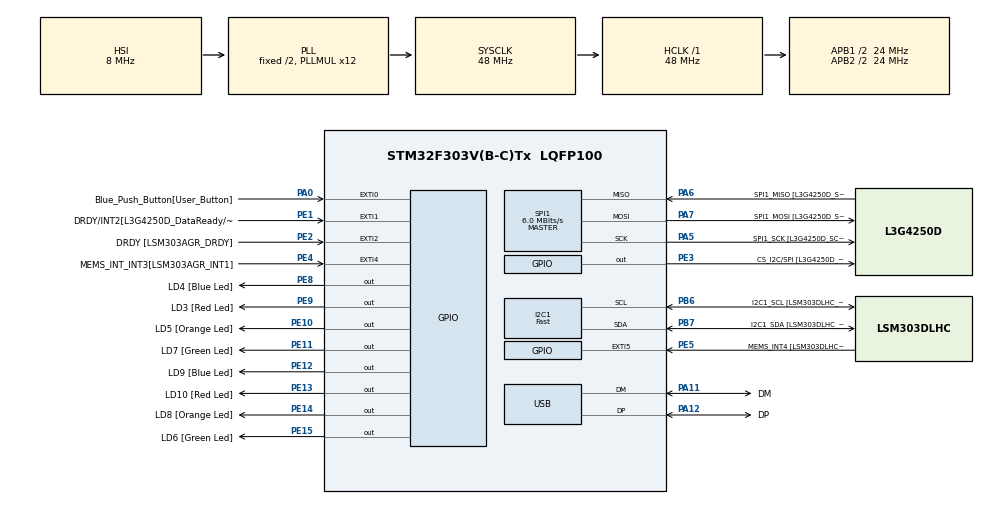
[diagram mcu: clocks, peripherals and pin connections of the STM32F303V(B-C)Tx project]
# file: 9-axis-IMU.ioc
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Dma.I2C1_RX.2.Direction=DMA_PERIPH_TO_MEMORY
Dma.I2C1_RX.2.Instance=DMA1_Channel7
Dma.I2C1_RX.2.MemDataAlignment=DMA_MDATAALIGN_BYTE
Dma.I2C1_RX.2.MemInc=DMA_MINC_ENABLE
Dma.I2C1_RX.2.Mode=DMA_NORMAL
Dma.I2C1_RX.2.PeriphDataAlignment=DMA_PDATAALIGN_BYTE
Dma.I2C1_RX.2.PeriphInc=DMA_PINC_DISABLE
Dma.I2C1_RX.2.Priority=DMA_PRIORITY_HIGH
Dma.I2C1_TX.3.Direction=DMA_MEMORY_TO_PERIPH
Dma.I2C1_TX.3.Instance=DMA1_Channel6
Dma.I2C1_TX.3.MemDataAlignment=DMA_MDATAALIGN_BYTE
Dma.I2C1_TX.3.MemInc=DMA_MINC_ENABLE
Dma.I2C1_TX.3.Mode=DMA_NORMAL
Dma.I2C1_TX.3.PeriphDataAlignment=DMA_PDATAALIGN_BYTE
Dma.I2C1_TX.3.PeriphInc=DMA_PINC_DISABLE
Dma.I2C1_TX.3.Priority=DMA_PRIORITY_HIGH
Dma.Request0=SPI1_RX
Dma.Request1=SPI1_TX
Dma.Request2=I2C1_RX
Dma.Request3=I2C1_TX
Dma.SPI1_RX.0.Direction=DMA_PERIPH_TO_MEMORY
Dma.SPI1_RX.0.Instance=DMA1_Channel2
Dma.SPI1_RX.0.MemDataAlignment=DMA_MDATAALIGN_BYTE
Dma.SPI1_RX.0.MemInc=DMA_MINC_ENABLE
Dma.SPI1_RX.0.Mode=DMA_NORMAL
Dma.SPI1_RX.0.PeriphDataAlignment=DMA_PDATAALIGN_BYTE
Dma.SPI1_RX.0.PeriphInc=DMA_PINC_DISABLE
Dma.SPI1_RX.0.Priority=DMA_PRIORITY_HIGH
Dma.SPI1_TX.1.Direction=DMA_MEMORY_TO_PERIPH
Dma.SPI1_TX.1.Instance=DMA1_Channel3
Dma.SPI1_TX.1.MemDataAlignment=DMA_MDATAALIGN_BYTE
Dma.SPI1_TX.1.MemInc=DMA_MINC_ENABLE
Dma.SPI1_TX.1.Mode=DMA_NORMAL
Dma.SPI1_TX.1.PeriphDataAlignment=DMA_PDATAALIGN_BYTE
Dma.SPI1_TX.1.PeriphInc=DMA_PINC_DISABLE
Dma.SPI1_TX.1.Priority=DMA_PRIORITY_HIGH
I2C1.DualAddressMode=I2C_DUALADDRESS_DISABLE
I2C1.GeneralCallMode=I2C_GENERALCALL_DISABLE
I2C1.I2C_Speed_Mode=I2C_Fast
I2C1.Timing=0x0000020B
Mcu.Family=STM32F3
Mcu.Name=STM32F303V(B-C)Tx
Mcu.Package=LQFP100
NVIC.DMA1_Channel2_IRQn=true\:0\:1\:false\:false\:true\:false\:true\:true
NVIC.DMA1_Channel3_IRQn=true\:0\:1\:false\:false\:true\:false\:true\:true
NVIC.DMA1_Channel6_IRQn=true\:0\:1\:false\:false\:true\:false\:true\:true
NVIC.DMA1_Channel7_IRQn=true\:0\:1\:false\:false\:true\:false\:true\:true
NVIC.EXTI0_IRQn=true\:0\:0\:false\:false\:true\:true\:true\:true
NVIC.EXTI1_IRQn=true\:0\:0\:false\:false\:true\:true\:true\:true
NVIC.EXTI2_TSC_IRQn=true\:0\:0\:false\:false\:true\:true\:true\:true
NVIC.EXTI4_IRQn=true\:0\:0\:true\:false\:true\:true\:true\:true
NVIC.I2C1_ER_IRQn=true\:0\:0\:false\:false\:true\:true\:true\:true
NVIC.I2C1_EV_IRQn=true\:0\:0\:false\:false\:true\:true\:true\:true
NVIC.PriorityGroup=NVIC_PRIORITYGROUP_0
NVIC.TIM1_TRG_COM_TIM17_IRQn=true\:0\:0\:false\:false\:true\:true\:true\:true
NVIC.USB_LP_IRQn=true\:0\:0\:false\:false\:true\:true\:true\:true
PA0.GPIO_Label=Blue_Push_Button[User_Button]
PA0.Signal=GPXTI0
PA11.GPIO_Label=DM
PA11.Mode=Device
PA11.Signal=USB_DM
PA12.GPIO_Label=DP
PA12.Mode=Device
PA12.Signal=USB_DP
PA13.GPIO_Label=SWDIO
PA13.Signal=SYS_JTMS-SWDIO
PA14.GPIO_Label=SWCLK
PA14.Signal=SYS_JTCK-SWCLK
PA5.GPIO_Label=SPI1_SCK [L3G4250D_SCL/SPC]
PA5.GPIO_Mode=GPIO_MODE_AF_PP
PA5.GPIO_PuPd=GPIO_PULLUP
PA5.GPIO_Speed=GPIO_SPEED_FREQ_LOW
PA5.Mode=Full_Duplex_Master
PA5.Signal=SPI1_SCK
PA6.GPIO_Label=SPI1_MISO [L3G4250D_SA0/SDO]
PA6.GPIO_Mode=GPIO_MODE_AF_PP
PA6.GPIO_PuPd=GPIO_PULLUP
PA6.GPIO_Speed=GPIO_SPEED_FREQ_LOW
PA6.Mode=Full_Duplex_Master
PA6.Signal=SPI1_MISO
PA7.GPIO_Label=SPI1_MOSI [L3G4250D_SDA/SDI/SDO]
PA7.GPIO_Mode=GPIO_MODE_AF_PP
PA7.GPIO_PuPd=GPIO_PULLUP
PA7.GPIO_Speed=GPIO_SPEED_FREQ_LOW
PA7.Mode=Full_Duplex_Master
PA7.Signal=SPI1_MOSI
PB3.GPIO_Label=SWO
PB3.Signal=SYS_JTDO-TRACESWO
PB6.GPIO_FM6=__NULL
PB6.GPIO_Label=I2C1_SCL [LSM303DLHC_SCL]
PB6.GPIO_Mode=GPIO_MODE_AF_OD
PB6.GPIO_Pu=GPIO_PULLUP
PB6.GPIO_PuPd=GPIO_NOPULL
PB6.GPIO_Speed=GPIO_SPEED_FREQ_LOW
PB6.Mode=I2C
PB6.Signal=I2C1_SCL
PB7.GPIO_FM7=__NULL
PB7.GPIO_Label=I2C1_SDA [LSM303DLHC_SDA]
PB7.GPIO_Mode=GPIO_MODE_AF_OD
PB7.GPIO_Pu=GPIO_PULLUP
PB7.GPIO_PuPd=GPIO_NOPULL
PB7.GPIO_Speed=GPIO_SPEED_FREQ_LOW
PB7.Mode=I2C
PB7.Signal=I2C1_SDA
PC14-OSC32_IN.GPIO_Label=OSC32_IN
PC14-OSC32_IN.Signal=RCC_OSC32_IN
PC15-OSC32_OUT.GPIO_Label=OSC32_OUT
PC15-OSC32_OUT.Signal=RCC_OSC32_OUT
PE1.GPIO_Label=DRDY/INT2[L3G4250D_DataReady/FIFOInterrupt]
PE1.Signal=GPXTI1
PE10.GPIO_Label=LD5 [Orange Led]
PE10.GPIO_ModeDefaultOutputPP=GPIO_MODE_OUTPUT_PP
PE10.GPIO_PuPd=GPIO_NOPULL
PE10.GPIO_Speed=GPIO_SPEED_FREQ_LOW
PE10.Signal=GPIO_Output
PE11.GPIO_Label=LD7 [Green Led]
PE11.GPIO_ModeDefaultOutputPP=GPIO_MODE_OUTPUT_PP
PE11.GPIO_PuPd=GPIO_NOPULL
PE11.GPIO_Speed=GPIO_SPEED_FREQ_LOW
PE11.Signal=GPIO_Output
PE12.GPIO_Label=LD9 [Blue Led]
PE12.GPIO_ModeDefaultOutputPP=GPIO_MODE_OUTPUT_PP
PE12.GPIO_PuPd=GPIO_NOPULL
PE12.GPIO_Speed=GPIO_SPEED_FREQ_LOW
PE12.Signal=GPIO_Output
PE13.GPIO_Label=LD10 [Red Led]
PE13.GPIO_ModeDefaultOutputPP=GPIO_MODE_OUTPUT_PP
PE13.GPIO_PuPd=GPIO_NOPULL
PE13.GPIO_Speed=GPIO_SPEED_FREQ_LOW
PE13.Signal=GPIO_Output
PE14.GPIO_Label=LD8 [Orange Led]
PE14.GPIO_ModeDefaultOutputPP=GPIO_MODE_OUTPUT_PP
PE14.GPIO_PuPd=GPIO_NOPULL
PE14.GPIO_Speed=GPIO_SPEED_FREQ_LOW
PE14.Signal=GPIO_Output
PE15.GPIO_Label=LD6 [Green Led]
PE15.GPIO_ModeDefaultOutputPP=GPIO_MODE_OUTPUT_PP
PE15.GPIO_PuPd=GPIO_NOPULL
PE15.GPIO_Speed=GPIO_SPEED_FREQ_LOW
PE15.Signal=GPIO_Output
PE2.GPIO_Label=DRDY [LSM303AGR_DRDY]
PE2.GPIO_ModeDefaultEXTI=GPIO_MODE_IT_RISING
PE2.GPIO_PuPd=GPIO_NOPULL
PE2.Signal=GPXTI2
PE3.GPIO_Label=CS_I2C/SPI [L3G4250D_CS_I2C/SPI]
PE3.GPIO_ModeDefaultOutputPP=GPIO_MODE_OUTPUT_PP
PE3.GPIO_PuPd=GPIO_NOPULL
PE3.GPIO_Speed=GPIO_SPEED_FREQ_LOW
PE3.PinState=GPIO_PIN_SET
PE3.Signal=GPIO_Output
PE4.GPIO_Label=MEMS_INT_INT3[LSM303AGR_INT1]
PE4.GPIO_PuPd=GPIO_PULLUP
PE4.Signal=GPXTI4
PE5.GPIO_Label=MEMS_INT4 [LSM303DLHC_INT2]
PE5.GPIO_ModeDefaultEXTI=GPIO_MODE_EVT_RISING
PE5.GPIO_PuPd=GPIO_NOPULL
PE5.Signal=GPXTI5
PE8.GPIO_Label=LD4 [Blue Led]
PE8.GPIO_ModeDefaultOutputPP=GPIO_MODE_OUTPUT_PP
PE8.GPIO_PuPd=GPIO_NOPULL
PE8.GPIO_Speed=GPIO_SPEED_FREQ_LOW
PE8.Signal=GPIO_Output
PE9.GPIO_Label=LD3 [Red Led]
PE9.GPIO_ModeDefaultOutputPP=GPIO_MODE_OUTPUT_PP
PE9.GPIO_PuPd=GPIO_NOPULL
PE9.GPIO_Speed=GPIO_SPEED_FREQ_LOW
PE9.Signal=GPIO_Output
PF0-OSC_IN.GPIO_Label=OSC_IN
PF0-OSC_IN.Signal=RCC_OSC_IN
PF1-OSC_OUT.GPIO_Label=OSC_OUT
PF1-OSC_OUT.Signal=RCC_OSC_OUT
ProjectManager.HeapSize=0x200
ProjectManager.StackSize=0x400
ProjectManager.TargetToolchain=STM32CubeIDE
RCC.AHBFreq_Value=48000000
RCC.APB1CLKDivider=RCC_HCLK_DIV2
RCC.APB1Freq_Value=24000000
RCC.APB1TimFreq_Value=48000000
RCC.APB2CLKDivider=RCC_HCLK_DIV2
RCC.APB2Freq_Value=24000000
RCC.APB2TimFreq_Value=48000000
RCC.CortexFreq_Value=48000000
RCC.HCLKFreq_Value=48000000
RCC.HSE_VALUE=8000000
RCC.HSI_VALUE=8000000
RCC.LSE_VALUE=32768
RCC.PLLMUL=RCC_PLL_MUL12
RCC.PLLSource=RCC_PLLSOURCE_HSI
RCC.PLLSourceVirtualString=RCC_PLLSOURCE_HSI
RCC.RCC_MCOSource=RCC_MCO1SOURCE_HSI
RCC.RCC_PLLsource_Clock_Source_FROM_HSE=RCC_HSE_PREDIV_DIV2
RCC.SYSCLKFreq_VALUE=48000000
RCC.SYSCLKSourceVirtual=RCC_SYSCLKSOURCE_PLLCLK
RCC.USBFreq_Value=48000000
SPI1.BaudRatePrescaler=SPI_BAUDRATEPRESCALER_4
SPI1.CLKPhase=SPI_PHASE_2EDGE
SPI1.CLKPolarity=SPI_POLARITY_HIGH
SPI1.CalculateBaudRate=6.0 MBits/s
SPI1.DataSize=SPI_DATASIZE_8BIT
SPI1.Direction=SPI_DIRECTION_2LINES
SPI1.FirstBit=SPI_FIRSTBIT_MSB
SPI1.Mode=SPI_MODE_MASTER
SPI1.VirtualType=VM_MASTER
TIM17.Period=50-1
TIM17.Prescaler=48000-1
USB_DEVICE.CLASS_NAME_FS=CDC
USB_DEVICE.USBD_SELF_POWERED=0
USB_DEVICE.VirtualMode=Cdc
USB_DEVICE.VirtualModeFS=Cdc_FS
VP_TIM17_VS_ClockSourceINT.Mode=Enable_Timer
VP_USB_DEVICE_VS_USB_DEVICE_CDC_FS.Mode=CDC_FS
board=STM32F3DISCOVERY

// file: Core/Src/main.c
/* USER CODE BEGIN Header */
/**
  ******************************************************************************
  * @file           : main.c
  * @brief          : Main program body
  ******************************************************************************
  * @attention
  *
  * Copyright (c) 2022 STMicroelectronics.
  * All rights reserved.
  *
  * This software is licensed under terms that can be found in the LICENSE file
  * in the root directory of this software component.
  * If no LICENSE file comes with this software, it is provided AS-IS.
  *
  ******************************************************************************
  */
/* USER CODE END Header */
#include "main.h"
#include "usb_device.h"

/* USER CODE BEGIN Includes */
#include "usbd_cdc_if.h"

/* USER CODE END Includes */

I2C_HandleTypeDef hi2c1;
DMA_HandleTypeDef hdma_i2c1_rx;
DMA_HandleTypeDef hdma_i2c1_tx;

SPI_HandleTypeDef hspi1;
DMA_HandleTypeDef hdma_spi1_rx;
DMA_HandleTypeDef hdma_spi1_tx;

TIM_HandleTypeDef htim17;

/* USER CODE BEGIN PV */
i3g4250d hgyro1;
lsm303agr heCompass;
imu himu;
int outputMode = 3;
/* USER CODE END PV */

void SystemClock_Config(void);
static void MX_GPIO_Init(void);
static void MX_DMA_Init(void);
static void MX_TIM17_Init(void);
static void MX_SPI1_Init(void);
static void MX_I2C1_Init(void);

/* USER CODE BEGIN 0 */
//external interrupts
void HAL_GPIO_EXTI_Callback(uint16_t GPIO_Pin)
{
	switch(GPIO_Pin)
	{
		case Blue_Push_Button_Pin:	//blue button is pressed
		{
			himu.state = KAL_INIT;
			//DEBUG: change which sensor value is send via USB
			if(outputMode != 3)
				++outputMode;
			else
				outputMode = 0;
			break;
		}
		case DRDY_INT2_Pin:	//i3g4250d has new data available
		{
			//setup DMA to read data register
			i3g4250d_readSensorData(&hgyro1);
			break;
		}
		case MEMS_INT_INT3_Pin:	//lsm303agr has new acceleration data available
		{
			lsm303agr_readSensorData_A(&heCompass);
			break;
		}
		case DRDY_Pin:	//lsm303agr has new magnetic data available
		{
			lsm303agr_readSensorData_M(&heCompass);
			break;
		}
	}
}
//Time interrupts
void HAL_TIM_PeriodElapsedCallback(TIM_HandleTypeDef *htim)
{
	// Check which version of the timer triggered this callback
	if (htim == &htim17 )//50Hz
	{
		lsm303agr_readSensorData_M(&heCompass);
		lsm303agr_readSensorData_A(&heCompass);
		i3g4250d_readSensorData(&hgyro1);
	}
}
//SPI DMA finished receiving and transmitting data
void HAL_SPI_TxRxCpltCallback(SPI_HandleTypeDef *hspi)
{
	if(hspi==&hspi1)	//finished transmitting and receiving data from i3g4250d
	{
		//finish SPI communication
		HAL_GPIO_WritePin(GPIOE,hgyro1.cs_Pin,GPIO_PIN_SET);

		if(hgyro1.currentTask==i3g4250d_GETANGULARRATE)	//new raw sensor data available
		{
			//reset SPI state
			hgyro1.currentTask=i3g4250d_NONE;
			//calculate measurement values
			i3g4250d_calcSensorData(&hgyro1);
			if(himu.state != KAL_PREINIT && himu.state != KAL_INIT)
				himu.state = KAL_PREDICT;
		}
		else if(hgyro1.currentTask==i3g4250d_GETTEMPERATURE) //new raw temperature data available
		{
			//calculate temperature data
			i3g4250d_calcTemperature(&hgyro1);
		}
		else
		{
			hgyro1.currentTask=i3g4250d_NONE;
		}
		i3g4250d_startNextTask(&hgyro1);
	}
}
//SPI DMA finished transmitting data
void HAL_SPI_TxCpltCallback(SPI_HandleTypeDef *hspi)
{
	if(hspi==&hspi1)	//finished transmitting data from i3g4250d
	{
		if(hgyro1.currentTask==i3g4250d_TRANSMITTING)
		{
			//finish SPI communication
			HAL_GPIO_WritePin(GPIOE,hgyro1.cs_Pin,GPIO_PIN_SET);
			hgyro1.currentTask=i3g4250d_NONE;
		}
		else if(hgyro1.currentTask == i3g4250d_CHANGEANGRANGE)
		{
			//finish SPI communication
			HAL_GPIO_WritePin(GPIOE,hgyro1.cs_Pin,GPIO_PIN_SET);
			hgyro1.currentTask=i3g4250d_NONE;
		}
		else
		{
			hgyro1.currentTask=i3g4250d_NONE;
		}
		i3g4250d_startNextTask(&hgyro1);
	}
}
void HAL_SPI_ErrorCallback(SPI_HandleTypeDef *hspi)
{
	HAL_GPIO_WritePin(GPIOE,LD4_Pin,GPIO_PIN_SET);
}
void HAL_I2C_MemRxCpltCallback(I2C_HandleTypeDef *hi2c)
{
	if(hi2c == heCompass.hi2c)
	{
		switch(heCompass.currentTask)
		{
			case lsm303agr_GetAcceleration:
			{
				lsm303agr_calcSensorData_A(&heCompass);
				if(himu.state != KAL_PREINIT && himu.state != KAL_INIT)
					himu.state = KAL_UPDATEACC;
				heCompass.currentTask = lsm303agr_NONE;
				break;
			}
			case lsm303agr_GetMagneticFieldStrength:
			{
				lsm303agr_calcSensorData_M(&heCompass);
				if(himu.state == KAL_PREINIT)
					himu.state = KAL_INIT;
				else
					himu.state = KAL_UPDATEMAG;
				heCompass.currentTask = lsm303agr_NONE;
				break;
			}
			default:
			{
				heCompass.currentTask = lsm303agr_NONE;
				break;

			}
		}
		lsm303agr_startNextTask(&heCompass);
	}

}
void HAL_I2C_MasterTxCpltCallback(I2C_HandleTypeDef *hi2c)
{
	if(hi2c == heCompass.hi2c)
	{
		switch(heCompass.currentTask)
		{
			case lsm303agr_SetSingleMode:
			{
				heCompass.currentTask = lsm303agr_NONE;
				break;
			}
			case lsm303agr_ChangeAccRange:
			{
				heCompass.currentTask = lsm303agr_NONE;
				break;
			}
			default:
			{
				heCompass.currentTask = lsm303agr_NONE;
				break;
			}
		}
		lsm303agr_startNextTask(&heCompass);
	}
}
void showNorth(imu *handle)
{
  	HAL_GPIO_WritePin(GPIOE,LD3_Pin,GPIO_PIN_RESET);
  	HAL_GPIO_WritePin(GPIOE,LD4_Pin,GPIO_PIN_RESET);
  	HAL_GPIO_WritePin(GPIOE,LD5_Pin,GPIO_PIN_RESET);
  	HAL_GPIO_WritePin(GPIOE,LD6_Pin,GPIO_PIN_RESET);
  	HAL_GPIO_WritePin(GPIOE,LD7_Pin,GPIO_PIN_RESET);
  	HAL_GPIO_WritePin(GPIOE,LD8_Pin,GPIO_PIN_RESET);
  	HAL_GPIO_WritePin(GPIOE,LD9_Pin,GPIO_PIN_RESET);
  	HAL_GPIO_WritePin(GPIOE,LD10_Pin,GPIO_PIN_RESET);
  	if(0.39 >= handle->yaw && handle->yaw >= -0.39)
  		HAL_GPIO_WritePin(GPIOE,LD3_Pin,GPIO_PIN_SET);
  	else if(1.18 >= handle->yaw && handle->yaw > 0.39)
  		HAL_GPIO_WritePin(GPIOE,LD4_Pin,GPIO_PIN_SET);
  	else if(-0.39 > handle->yaw && handle->yaw >= -1.18)
  		HAL_GPIO_WritePin(GPIOE,LD5_Pin,GPIO_PIN_SET);
  	else if(-1.18 > handle->yaw && handle->yaw >= -1.96)
  		HAL_GPIO_WritePin(GPIOE,LD7_Pin,GPIO_PIN_SET);
  	else if(1.96 >= handle->yaw && handle->yaw > 1.18)
  		HAL_GPIO_WritePin(GPIOE,LD6_Pin,GPIO_PIN_SET);
  	else if(-1.96 > handle->yaw && handle->yaw >= -2.66)
  		HAL_GPIO_WritePin(GPIOE,LD9_Pin,GPIO_PIN_SET);
  	else if(2.66 >= handle->yaw && handle->yaw > 1.96)
  		HAL_GPIO_WritePin(GPIOE,LD8_Pin,GPIO_PIN_SET);
  	else
  		HAL_GPIO_WritePin(GPIOE,LD10_Pin,GPIO_PIN_SET);
}

/* USER CODE END 0 */

int main(void)
{

  /* MCU Configuration--------------------------------------------------------*/

  /* Reset of all peripherals, Initializes the Flash interface and the Systick. */
  HAL_Init();

  /* Configure the system clock */
  SystemClock_Config();

  /* Initialize all configured peripherals */
  MX_GPIO_Init();
  MX_DMA_Init();
  MX_TIM17_Init();
  MX_USB_DEVICE_Init();
  MX_SPI1_Init();
  MX_I2C1_Init();
  /* USER CODE BEGIN 2 */
  //start timer
  HAL_TIM_Base_Start_IT(&htim17);
  //configure sensor
  i3g4250d_config(&hgyro1,&hspi1,CS_I2C_SPI_Pin,GPIOE,&hdma_spi1_rx,&hdma_spi1_tx);
  lsm303agr_config(&heCompass, &hi2c1, &hdma_i2c1_rx, &hdma_i2c1_tx);
  himu.state = KAL_PREINIT;
  /* USER CODE END 2 */

  /* Infinite loop */
  /* USER CODE BEGIN WHILE */
  while (1)
  {
  	  switch(himu.state)
	  {
		  case KAL_INIT:
		  {
			  imu_init_kalmanFilter(&himu, &hgyro1, &heCompass);
			  himu.state = KAL_NONE;
			  break;
		  }
		  case KAL_UPDATEACC:
		  {
			  imu_updateAngles_acc_EKF(&himu);
			  sendSensorDataFloat(&himu);
			  himu.state = KAL_NONE;
			  break;
		  }
		  case KAL_UPDATEMAG:
		  {
			  imu_updateAngles_mag_EKF(&himu);
			  sendSensorDataFloat(&himu);
			  himu.state = KAL_NONE;
			  break;
		  }
		  case KAL_PREDICT:
		  {
			  imu_predictAngles_kalmanFilter(&himu);
			  sendSensorDataFloat(&himu);
			  himu.state = KAL_NONE;
			  break;
		  }
		  default:
		  {
			  break;
		  }
	  }
  	  showNorth(&himu);
    /* USER CODE END WHILE */

  }
}

void SystemClock_Config(void)
{
  RCC_OscInitTypeDef RCC_OscInitStruct = {0};
  RCC_ClkInitTypeDef RCC_ClkInitStruct = {0};
  RCC_PeriphCLKInitTypeDef PeriphClkInit = {0};

  /** Initializes the RCC Oscillators according to the specified parameters
  * in the RCC_OscInitTypeDef structure.
  */
  RCC_OscInitStruct.OscillatorType = RCC_OSCILLATORTYPE_HSI;
  RCC_OscInitStruct.HSIState = RCC_HSI_ON;
  RCC_OscInitStruct.HSICalibrationValue = RCC_HSICALIBRATION_DEFAULT;
  RCC_OscInitStruct.PLL.PLLState = RCC_PLL_ON;
  RCC_OscInitStruct.PLL.PLLSource = RCC_PLLSOURCE_HSI;
  RCC_OscInitStruct.PLL.PLLMUL = RCC_PLL_MUL12;
  if (HAL_RCC_OscConfig(&RCC_OscInitStruct) != HAL_OK)
  {
    Error_Handler();
  }

  /** Initializes the CPU, AHB and APB buses clocks
  */
  RCC_ClkInitStruct.ClockType = RCC_CLOCKTYPE_HCLK|RCC_CLOCKTYPE_SYSCLK
                              |RCC_CLOCKTYPE_PCLK1|RCC_CLOCKTYPE_PCLK2;
  RCC_ClkInitStruct.SYSCLKSource = RCC_SYSCLKSOURCE_PLLCLK;
  RCC_ClkInitStruct.AHBCLKDivider = RCC_SYSCLK_DIV1;
  RCC_ClkInitStruct.APB1CLKDivider = RCC_HCLK_DIV2;
  RCC_ClkInitStruct.APB2CLKDivider = RCC_HCLK_DIV2;

  if (HAL_RCC_ClockConfig(&RCC_ClkInitStruct, FLASH_LATENCY_1) != HAL_OK)
  {
    Error_Handler();
  }
  PeriphClkInit.PeriphClockSelection = RCC_PERIPHCLK_USB|RCC_PERIPHCLK_I2C1;
  PeriphClkInit.I2c1ClockSelection = RCC_I2C1CLKSOURCE_HSI;
  PeriphClkInit.USBClockSelection = RCC_USBCLKSOURCE_PLL;
  if (HAL_RCCEx_PeriphCLKConfig(&PeriphClkInit) != HAL_OK)
  {
    Error_Handler();
  }
}

static void MX_I2C1_Init(void)
{

  hi2c1.Instance = I2C1;
  hi2c1.Init.Timing = 0x0000020B;
  hi2c1.Init.OwnAddress1 = 0;
  hi2c1.Init.AddressingMode = I2C_ADDRESSINGMODE_7BIT;
  hi2c1.Init.DualAddressMode = I2C_DUALADDRESS_DISABLE;
  hi2c1.Init.OwnAddress2 = 0;
  hi2c1.Init.OwnAddress2Masks = I2C_OA2_NOMASK;
  hi2c1.Init.GeneralCallMode = I2C_GENERALCALL_DISABLE;
  hi2c1.Init.NoStretchMode = I2C_NOSTRETCH_DISABLE;
  if (HAL_I2C_Init(&hi2c1) != HAL_OK)
  {
    Error_Handler();
  }

  /** Configure Analogue filter
  */
  if (HAL_I2CEx_ConfigAnalogFilter(&hi2c1, I2C_ANALOGFILTER_ENABLE) != HAL_OK)
  {
    Error_Handler();
  }

  /** Configure Digital filter
  */
  if (HAL_I2CEx_ConfigDigitalFilter(&hi2c1, 0) != HAL_OK)
  {
    Error_Handler();
  }

}

static void MX_SPI1_Init(void)
{

  /* SPI1 parameter configuration*/
  hspi1.Instance = SPI1;
  hspi1.Init.Mode = SPI_MODE_MASTER;
  hspi1.Init.Direction = SPI_DIRECTION_2LINES;
  hspi1.Init.DataSize = SPI_DATASIZE_8BIT;
  hspi1.Init.CLKPolarity = SPI_POLARITY_HIGH;
  hspi1.Init.CLKPhase = SPI_PHASE_2EDGE;
  hspi1.Init.NSS = SPI_NSS_SOFT;
  hspi1.Init.BaudRatePrescaler = SPI_BAUDRATEPRESCALER_4;
  hspi1.Init.FirstBit = SPI_FIRSTBIT_MSB;
  hspi1.Init.TIMode = SPI_TIMODE_DISABLE;
  hspi1.Init.CRCCalculation = SPI_CRCCALCULATION_DISABLE;
  hspi1.Init.CRCPolynomial = 7;
  hspi1.Init.CRCLength = SPI_CRC_LENGTH_DATASIZE;
  hspi1.Init.NSSPMode = SPI_NSS_PULSE_DISABLE;
  if (HAL_SPI_Init(&hspi1) != HAL_OK)
  {
    Error_Handler();
  }

}

static void MX_TIM17_Init(void)
{

  htim17.Instance = TIM17;
  htim17.Init.Prescaler = 48000-1;
  htim17.Init.CounterMode = TIM_COUNTERMODE_UP;
  htim17.Init.Period = 50-1;
  htim17.Init.ClockDivision = TIM_CLOCKDIVISION_DIV1;
  htim17.Init.RepetitionCounter = 0;
  htim17.Init.AutoReloadPreload = TIM_AUTORELOAD_PRELOAD_DISABLE;
  if (HAL_TIM_Base_Init(&htim17) != HAL_OK)
  {
    Error_Handler();
  }

}

static void MX_DMA_Init(void)
{

  /* DMA controller clock enable */
  __HAL_RCC_DMA1_CLK_ENABLE();

  /* DMA interrupt init */
  /* DMA1_Channel2_IRQn interrupt configuration */
  HAL_NVIC_SetPriority(DMA1_Channel2_IRQn, 0, 1);
  HAL_NVIC_EnableIRQ(DMA1_Channel2_IRQn);
  /* DMA1_Channel3_IRQn interrupt configuration */
  HAL_NVIC_SetPriority(DMA1_Channel3_IRQn, 0, 1);
  HAL_NVIC_EnableIRQ(DMA1_Channel3_IRQn);
  /* DMA1_Channel6_IRQn interrupt configuration */
  HAL_NVIC_SetPriority(DMA1_Channel6_IRQn, 0, 1);
  HAL_NVIC_EnableIRQ(DMA1_Channel6_IRQn);
  /* DMA1_Channel7_IRQn interrupt configuration */
  HAL_NVIC_SetPriority(DMA1_Channel7_IRQn, 0, 1);
  HAL_NVIC_EnableIRQ(DMA1_Channel7_IRQn);

}

static void MX_GPIO_Init(void)
{
  GPIO_InitTypeDef GPIO_InitStruct = {0};

  /* GPIO Ports Clock Enable */
  __HAL_RCC_GPIOE_CLK_ENABLE();
  __HAL_RCC_GPIOC_CLK_ENABLE();
  __HAL_RCC_GPIOF_CLK_ENABLE();
  __HAL_RCC_GPIOA_CLK_ENABLE();
  __HAL_RCC_GPIOB_CLK_ENABLE();

  /*Configure GPIO pin Output Level */
  HAL_GPIO_WritePin(CS_I2C_SPI_GPIO_Port, CS_I2C_SPI_Pin, GPIO_PIN_SET);

  /*Configure GPIO pin Output Level */
  HAL_GPIO_WritePin(GPIOE, LD4_Pin|LD3_Pin|LD5_Pin|LD7_Pin
                          |LD9_Pin|LD10_Pin|LD8_Pin|LD6_Pin, GPIO_PIN_RESET);

  /*Configure GPIO pins : DRDY_Pin DRDY_INT2_Pin */
  GPIO_InitStruct.Pin = DRDY_Pin|DRDY_INT2_Pin;
  GPIO_InitStruct.Mode = GPIO_MODE_IT_RISING;
  GPIO_InitStruct.Pull = GPIO_NOPULL;
  HAL_GPIO_Init(GPIOE, &GPIO_InitStruct);

  /*Configure GPIO pins : CS_I2C_SPI_Pin LD4_Pin LD3_Pin LD5_Pin
                           LD7_Pin LD9_Pin LD10_Pin LD8_Pin
                           LD6_Pin */
  GPIO_InitStruct.Pin = CS_I2C_SPI_Pin|LD4_Pin|LD3_Pin|LD5_Pin
                          |LD7_Pin|LD9_Pin|LD10_Pin|LD8_Pin
                          |LD6_Pin;
  GPIO_InitStruct.Mode = GPIO_MODE_OUTPUT_PP;
  GPIO_InitStruct.Pull = GPIO_NOPULL;
  GPIO_InitStruct.Speed = GPIO_SPEED_FREQ_LOW;
  HAL_GPIO_Init(GPIOE, &GPIO_InitStruct);

  /*Configure GPIO pin : MEMS_INT_INT3_Pin */
  GPIO_InitStruct.Pin = MEMS_INT_INT3_Pin;
  GPIO_InitStruct.Mode = GPIO_MODE_IT_RISING;
  GPIO_InitStruct.Pull = GPIO_PULLUP;
  HAL_GPIO_Init(MEMS_INT_INT3_GPIO_Port, &GPIO_InitStruct);

  /*Configure GPIO pin : MEMS_INT4_Pin */
  GPIO_InitStruct.Pin = MEMS_INT4_Pin;
  GPIO_InitStruct.Mode = GPIO_MODE_EVT_RISING;
  GPIO_InitStruct.Pull = GPIO_NOPULL;
  HAL_GPIO_Init(MEMS_INT4_GPIO_Port, &GPIO_InitStruct);

  /*Configure GPIO pin : Blue_Push_Button_Pin */
  GPIO_InitStruct.Pin = Blue_Push_Button_Pin;
  GPIO_InitStruct.Mode = GPIO_MODE_IT_RISING;
  GPIO_InitStruct.Pull = GPIO_NOPULL;
  HAL_GPIO_Init(Blue_Push_Button_GPIO_Port, &GPIO_InitStruct);

  /* EXTI interrupt init*/
  HAL_NVIC_SetPriority(EXTI0_IRQn, 0, 0);
  HAL_NVIC_EnableIRQ(EXTI0_IRQn);

  HAL_NVIC_SetPriority(EXTI1_IRQn, 0, 0);
  HAL_NVIC_EnableIRQ(EXTI1_IRQn);

  HAL_NVIC_SetPriority(EXTI2_TSC_IRQn, 0, 0);
  HAL_NVIC_EnableIRQ(EXTI2_TSC_IRQn);

  HAL_NVIC_SetPriority(EXTI4_IRQn, 0, 0);
  HAL_NVIC_EnableIRQ(EXTI4_IRQn);

}

void Error_Handler(void)
{
  __disable_irq();
  while (1)
  {
  }
}
